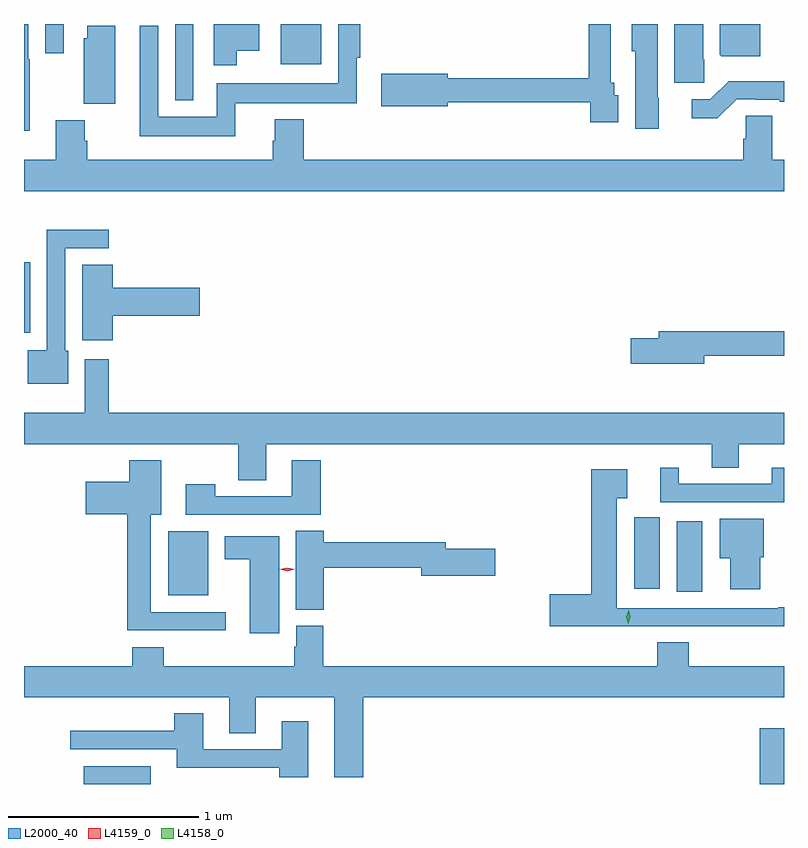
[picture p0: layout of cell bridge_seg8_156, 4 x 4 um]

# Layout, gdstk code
import gdstk
lib = gdstk.Library(unit=1e-6, precision=1e-09)
def R(c, l, rs):  # rectangles x0, y0, x1, y1
    for r in rs: c.add(gdstk.rectangle(r[:2], r[2:], *l))
def P(c, l, *ps):  # polygons
    for p in ps: c.add(gdstk.Polygon(p, *l))
L2000_40 = (2000, 40)
L4158_0 = (4158, 0)
L4159_0 = (4159, 0)

bridge_seg8_156 = lib.new_cell('bridge_seg8_156')
R(bridge_seg8_156, L2000_40, [(561.836,1140.019,562.189,1140.112), (565.394,1140.019,565.521,1140.313), (562.28,1141.013,562.492,1141.348), (564.956,1141.03,565.09,1141.402), (564.734,1141.047,564.868,1141.422), (561.521,1142.394,561.553,1142.764), (562.317,1143.617,562.413,1144.019), (562.871,1143.806,563.086,1144.019), (561.633,1143.864,561.729,1144.019)])
P(bridge_seg8_156, L2000_40, [(564.862,1143.63),(564.856,1143.63),(564.856,1144.019),(564.719,1144.019),(564.719,1143.876),(564.737,1143.876),(564.737,1143.468),(564.862,1143.468)],
  [(562.642,1143.878),(562.759,1143.878),(562.759,1144.019),(562.52,1144.019),(562.52,1143.801),(562.642,1143.801)],
  [(562.634,1143.602),(563.271,1143.602),(563.271,1143.841),(563.291,1143.841),(563.291,1144.019),(563.175,1144.019),(563.175,1143.706),(562.536,1143.706),(562.536,1143.532),(562.227,1143.532),(562.227,1144.009),(562.13,1144.009),(562.13,1143.428),(562.634,1143.428)],
  [(561.55,1143.834),(561.543,1143.834),(561.543,1144.019),(561.521,1144.019),(561.521,1143.458),(561.55,1143.458)],
  [(565.1,1143.834),(565.096,1143.834),(565.096,1144.019),(564.944,1144.019),(564.944,1143.711),(565.1,1143.711)],
  [(564.649,1143.645),(564.628,1143.645),(564.628,1143.711),(564.609,1143.711),(564.609,1144.019),(564.493,1144.019),(564.493,1143.734),(563.752,1143.734),(563.752,1143.758),(563.4,1143.758),(563.4,1143.587),(563.752,1143.587),(563.752,1143.606),(564.5,1143.606),(564.5,1143.501),(564.649,1143.501)],
  [(565.396,1144.019),(565.184,1144.019),(565.184,1143.856),(565.192,1143.848),(565.396,1143.848)],
  [(562,1144.009),(561.854,1144.009),(561.854,1143.945),(561.836,1143.945),(561.836,1143.598),(562,1143.598)],
  [(565.272,1143.624),(565.372,1143.624),(565.372,1143.621),(565.499,1143.621),(565.499,1143.609),(565.521,1143.609),(565.521,1143.719),(565.229,1143.719),(565.134,1143.624),(565.035,1143.624),(565.035,1143.522),(565.17,1143.522)],
  [(565.521,1143.304),(565.459,1143.304),(565.459,1143.536),(565.32,1143.536),(565.32,1143.414),(565.307,1143.414),(565.307,1143.304),(562.994,1143.304),(562.994,1143.517),(562.841,1143.517),(562.841,1143.405),(562.829,1143.405),(562.829,1143.304),(561.854,1143.304),(561.854,1143.404),(561.841,1143.404),(561.841,1143.513),(561.689,1143.513),(561.689,1143.304),(561.521,1143.304),(561.521,1143.14),(565.521,1143.14)],
  [(561.754,1142.298),(561.738,1142.298),(561.738,1142.838),(561.967,1142.838),(561.967,1142.936),(561.642,1142.936),(561.642,1142.302),(561.542,1142.302),(561.542,1142.126),(561.754,1142.126)],
  [(561.989,1142.483),(562.447,1142.483),(562.447,1142.63),(561.989,1142.63),(561.989,1142.753),(561.827,1142.753),(561.827,1142.355),(561.989,1142.355)],
  [(565.102,1142.274),(565.521,1142.274),(565.521,1142.402),(564.863,1142.402),(564.863,1142.366),(564.714,1142.366),(564.714,1142.231),(565.102,1142.231)],
  [(562.795,1141.808),(565.142,1141.808),(565.142,1141.684),(565.282,1141.684),(565.282,1141.808),(565.521,1141.808),(565.521,1141.972),(561.968,1141.972),(561.968,1142.254),(561.842,1142.254),(561.842,1141.972),(561.521,1141.972),(561.521,1141.808),(562.648,1141.808),(562.648,1141.618),(562.795,1141.618)],
  [(562.582,1140.924),(562.189,1140.924),(562.189,1141.436),(562.243,1141.436),(562.243,1141.723),(562.076,1141.723),(562.076,1141.609),(561.846,1141.609),(561.846,1141.439),(562.064,1141.439),(562.064,1140.827),(562.582,1140.827)],
  [(563.084,1141.723),(562.931,1141.723),(562.931,1141.533),(562.527,1141.533),(562.527,1141.597),(562.371,1141.597),(562.371,1141.437),(563.084,1141.437)],
  [(565.521,1141.684),(565.457,1141.684),(565.457,1141.599),(564.967,1141.599),(564.967,1141.684),(564.869,1141.684),(564.869,1141.503),(565.521,1141.503)],
  [(564.736,1140.849),(565.102,1140.849),(565.102,1140.848),(565.521,1140.848),(565.521,1140.95),(565.492,1140.95),(565.492,1140.945),(564.64,1140.945),(564.64,1141.523),(564.697,1141.523),(564.697,1141.675),(564.506,1141.675),(564.506,1141.019),(564.288,1141.019),(564.288,1140.848),(564.736,1140.848)],
  [(565.396,1141.212),(565.414,1141.212),(565.414,1141.414),(565.184,1141.414),(565.184,1141.208),(565.238,1141.208),(565.238,1141.044),(565.396,1141.044)],
  [(563.099,1141.156),(563.612,1141.156),(563.612,1141.114),(564.001,1141.114),(564.001,1141.256),(563.74,1141.256),(563.74,1141.292),(563.099,1141.292),(563.099,1141.352),(562.952,1141.352),(562.952,1140.937),(563.099,1140.937)],
  [(562.864,1141.324),(562.577,1141.324),(562.577,1141.202),(562.709,1141.202),(562.709,1140.812),(562.864,1140.812)],
  [(563.306,1140.476),(565.521,1140.476),(565.521,1140.64),(565.019,1140.64),(565.019,1140.764),(564.854,1140.764),(564.854,1140.64),(563.096,1140.64),(563.096,1140.852),(562.955,1140.852),(562.955,1140.741),(562.943,1140.741),(562.943,1140.64),(562.256,1140.64),(562.256,1140.739),(562.091,1140.739),(562.091,1140.64),(561.521,1140.64),(561.521,1140.476),(562.601,1140.476),(562.601,1140.286),(562.741,1140.286),(562.741,1140.476),(563.153,1140.476),(563.153,1140.054),(563.306,1140.054)],
  [(563.017,1140.349),(562.877,1140.349),(562.877,1140.201),(562.465,1140.201),(562.465,1140.391),(562.313,1140.391),(562.313,1140.298),(561.765,1140.298),(561.765,1140.201),(562.325,1140.201),(562.325,1140.105),(562.865,1140.105),(562.865,1140.054),(563.017,1140.054)])
P(bridge_seg8_156, L4158_0, [(564.7,1140.862),(564.7,1140.862),(564.691,1140.899),(564.703,1140.934),(564.703,1140.934),(564.703,1140.934),(564.711,1140.898),(564.7,1140.862)])
P(bridge_seg8_156, L4159_0, [(562.907,1141.138),(562.868,1141.148),(562.868,1141.148),(562.868,1141.148),(562.907,1141.158),(562.946,1141.148),(562.947,1141.148),(562.946,1141.148)])

lib.write_gds('bridge_seg8_156.gds')
